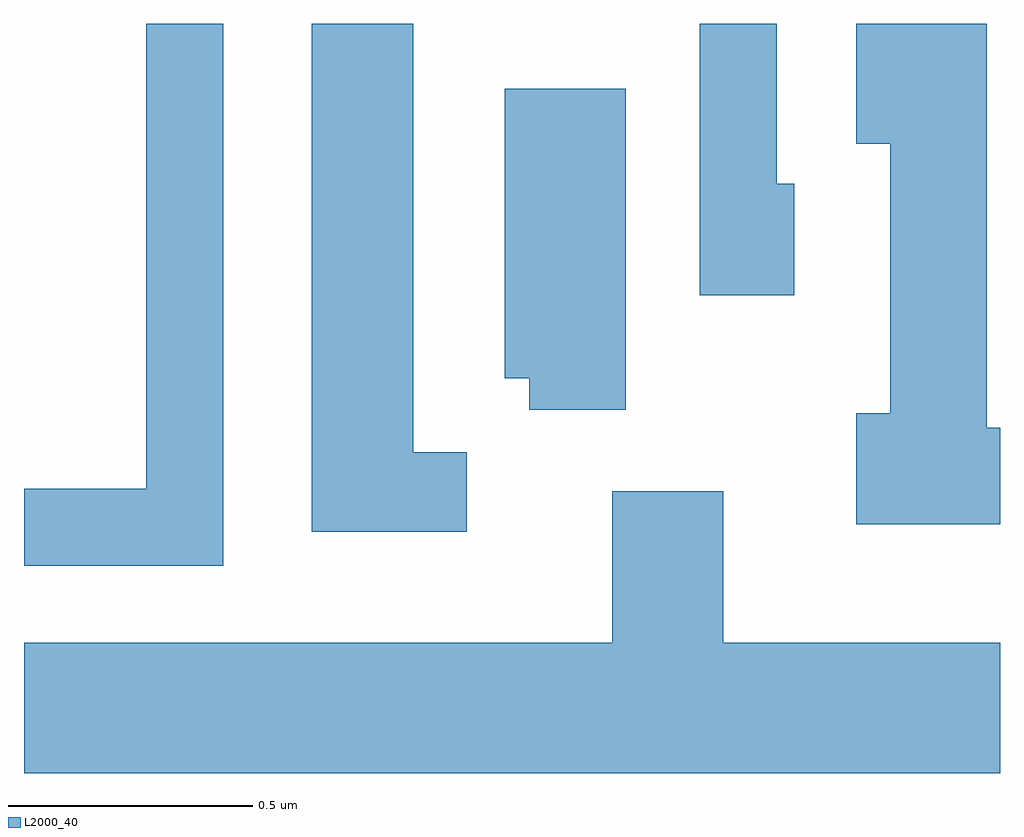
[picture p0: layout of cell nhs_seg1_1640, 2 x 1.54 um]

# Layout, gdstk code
import gdstk
lib = gdstk.Library(unit=1e-6, precision=1e-09)
def P(c, l, *ps):  # polygons
    for p in ps: c.add(gdstk.Polygon(p, *l))
L2000_40 = (2000, 40)

nhs_seg1_1640 = lib.new_cell('nhs_seg1_1640')
P(nhs_seg1_1640, L2000_40, [(198.019,856.712),(197.861,856.712),(197.861,855.759),(197.611,855.759),(197.611,855.601),(198.019,855.601)],
  [(199.189,856.384),(199.154,856.384),(199.154,856.712),(198.996,856.712),(198.996,856.156),(199.189,856.156)],
  [(199.611,855.884),(199.584,855.884),(199.584,856.712),(199.316,856.712),(199.316,856.466),(199.386,856.466),(199.386,855.914),(199.316,855.914),(199.316,855.686),(199.611,855.686)],
  [(198.518,855.834),(198.409,855.834),(198.409,856.712),(198.201,856.712),(198.201,855.671),(198.518,855.671)],
  [(198.844,856.579),(198.596,856.579),(198.596,855.986),(198.646,855.986),(198.646,855.921),(198.844,855.921)],
  [(199.611,855.444),(199.044,855.444),(199.044,855.754),(198.816,855.754),(198.816,855.444),(197.611,855.444),(197.611,855.176),(199.611,855.176)])

lib.write_gds('nhs_seg1_1640.gds')
